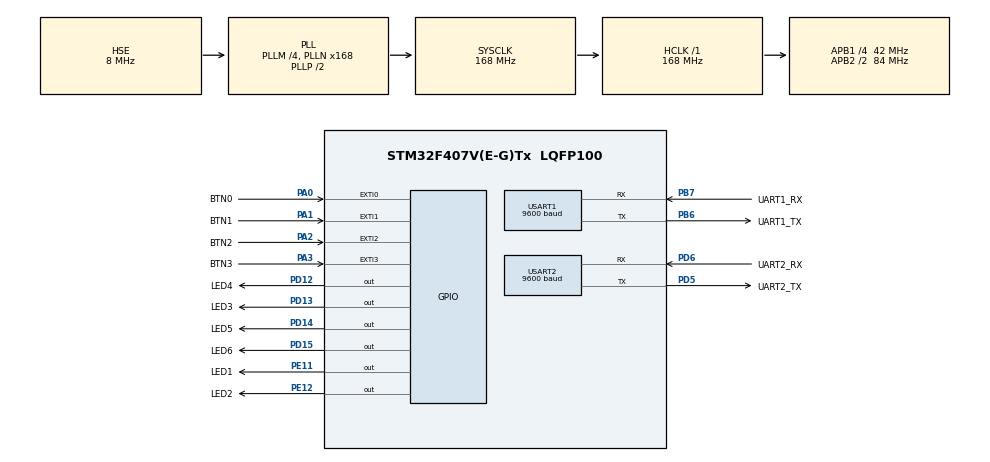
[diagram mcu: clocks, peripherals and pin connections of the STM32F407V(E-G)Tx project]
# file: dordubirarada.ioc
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Mcu.Family=STM32F4
Mcu.Name=STM32F407V(E-G)Tx
Mcu.Package=LQFP100
NVIC.EXTI0_IRQn=true\:0\:5\:false\:false\:true
NVIC.EXTI1_IRQn=true\:0\:5\:false\:false\:true
NVIC.EXTI2_IRQn=true\:0\:5\:false\:false\:true
NVIC.EXTI3_IRQn=true\:0\:5\:false\:false\:true
NVIC.PriorityGroup=NVIC_PRIORITYGROUP_0
NVIC.TIM6_DAC_IRQn=true\:0\:1\:false\:false\:true
NVIC.USART1_IRQn=true\:0\:3\:false\:false\:true
NVIC.USART2_IRQn=true\:0\:3\:false\:false\:true
PA0-WKUP.GPIO_Label=BTN0
PA0-WKUP.GPIO_ModeDefaultEXTI=GPIO_MODE_IT_FALLING
PA0-WKUP.GPIO_PuPd=GPIO_PULLDOWN
PA0-WKUP.Signal=GPXTI0
PA1.GPIO_Label=BTN1
PA1.GPIO_ModeDefaultEXTI=GPIO_MODE_IT_FALLING
PA1.GPIO_PuPd=GPIO_PULLDOWN
PA1.Signal=GPXTI1
PA13.Mode=Trace_Asynchronous_SW
PA13.Signal=SYS_JTMS-SWDIO
PA14.Mode=Trace_Asynchronous_SW
PA14.Signal=SYS_JTCK-SWCLK
PA2.GPIO_Label=BTN2
PA2.GPIO_ModeDefaultEXTI=GPIO_MODE_IT_FALLING
PA2.GPIO_PuPd=GPIO_PULLDOWN
PA2.Signal=GPXTI2
PA3.GPIO_Label=BTN3
PA3.GPIO_ModeDefaultEXTI=GPIO_MODE_IT_FALLING
PA3.GPIO_PuPd=GPIO_PULLDOWN
PA3.Signal=GPXTI3
PB3.Mode=Trace_Asynchronous_SW
PB3.Signal=SYS_JTDO-SWO
PB6.GPIO_Label=UART1_TX
PB6.Mode=Asynchronous
PB6.Signal=USART1_TX
PB7.GPIO_Label=UART1_RX
PB7.Mode=Asynchronous
PB7.Signal=USART1_RX
PD12.GPIO_Label=LED4
PD12.GPIO_ModeDefaultOutputPP=GPIO_MODE_OUTPUT_PP
PD12.GPIO_PuPd=GPIO_PULLDOWN
PD12.GPIO_Speed=GPIO_SPEED_FREQ_VERY_HIGH
PD12.PinState=GPIO_PIN_RESET
PD12.Signal=GPIO_Output
PD13.GPIO_Label=LED3
PD13.GPIO_ModeDefaultOutputPP=GPIO_MODE_OUTPUT_PP
PD13.GPIO_PuPd=GPIO_PULLDOWN
PD13.GPIO_Speed=GPIO_SPEED_FREQ_VERY_HIGH
PD13.PinState=GPIO_PIN_RESET
PD13.Signal=GPIO_Output
PD14.GPIO_Label=LED5
PD14.GPIO_ModeDefaultOutputPP=GPIO_MODE_OUTPUT_PP
PD14.GPIO_PuPd=GPIO_PULLDOWN
PD14.GPIO_Speed=GPIO_SPEED_FREQ_VERY_HIGH
PD14.PinState=GPIO_PIN_RESET
PD14.Signal=GPIO_Output
PD15.GPIO_Label=LED6
PD15.GPIO_ModeDefaultOutputPP=GPIO_MODE_OUTPUT_PP
PD15.GPIO_PuPd=GPIO_PULLDOWN
PD15.GPIO_Speed=GPIO_SPEED_FREQ_VERY_HIGH
PD15.PinState=GPIO_PIN_RESET
PD15.Signal=GPIO_Output
PD5.GPIO_Label=UART2_TX
PD5.Mode=Asynchronous
PD5.Signal=USART2_TX
PD6.GPIO_Label=UART2_RX
PD6.Mode=Asynchronous
PD6.Signal=USART2_RX
PE11.GPIO_Label=LED1
PE11.GPIO_ModeDefaultOutputPP=GPIO_MODE_OUTPUT_PP
PE11.GPIO_PuPd=GPIO_PULLDOWN
PE11.GPIO_Speed=GPIO_SPEED_FREQ_VERY_HIGH
PE11.PinState=GPIO_PIN_RESET
PE11.Signal=GPIO_Output
PE12.GPIO_Label=LED2
PE12.GPIO_ModeDefaultOutputPP=GPIO_MODE_OUTPUT_PP
PE12.GPIO_PuPd=GPIO_PULLDOWN
PE12.GPIO_Speed=GPIO_SPEED_FREQ_VERY_HIGH
PE12.PinState=GPIO_PIN_RESET
PE12.Signal=GPIO_Output
PH0-OSC_IN.Mode=HSE-External-Oscillator
PH0-OSC_IN.Signal=RCC_OSC_IN
PH1-OSC_OUT.Mode=HSE-External-Oscillator
PH1-OSC_OUT.Signal=RCC_OSC_OUT
ProjectManager.HeapSize=0x1000
ProjectManager.StackSize=0x1000
ProjectManager.TargetToolchain=MDK-ARM V5
RCC.48MHZClocksFreq_Value=48000000
RCC.AHBFreq_Value=168000000
RCC.APB1CLKDivider=RCC_HCLK_DIV4
RCC.APB1Freq_Value=42000000
RCC.APB1TimFreq_Value=84000000
RCC.APB2CLKDivider=RCC_HCLK_DIV2
RCC.APB2Freq_Value=84000000
RCC.APB2TimFreq_Value=168000000
RCC.CortexFreq_Value=168000000
RCC.HCLKFreq_Value=168000000
RCC.HSE_VALUE=8000000
RCC.HSI_VALUE=16000000
RCC.LSE_VALUE=32768
RCC.PLLM=4
RCC.PLLN=168
RCC.PLLQ=7
RCC.PLLSourceVirtual=RCC_PLLSOURCE_HSE
RCC.SYSCLKFreq_VALUE=168000000
RCC.SYSCLKSource=RCC_SYSCLKSOURCE_PLLCLK
RCC.VCOOutputFreq_Value=336000000
TIM6.Period=9999
TIM6.Prescaler=8399
USART1.BaudRate=9600
USART2.BaudRate=9600
VP_TIM6_VS_ClockSourceINT.Mode=Enable_Timer
board=STM32F4DISCOVERY

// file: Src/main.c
/**
  ******************************************************************************
  * File Name          : main.c
  * Description        : Main program body
  ******************************************************************************
  *
  * COPYRIGHT(c) 2016 STMicroelectronics
  *
  * Redistribution and use in source and binary forms, with or without modification,
  * are permitted provided that the following conditions are met:
  *   1. Redistributions of source code must retain the above copyright notice,
  *      this list of conditions and the following disclaimer.
  *   2. Redistributions in binary form must reproduce the above copyright notice,
  *      this list of conditions and the following disclaimer in the documentation
  *      and/or other materials provided with the distribution.
  *   3. Neither the name of STMicroelectronics nor the names of its contributors
  *      may be used to endorse or promote products derived from this software
  *      without specific prior written permission.
  *
  * THIS SOFTWARE IS PROVIDED BY THE COPYRIGHT HOLDERS AND CONTRIBUTORS "AS IS"
  * AND ANY EXPRESS OR IMPLIED WARRANTIES, INCLUDING, BUT NOT LIMITED TO, THE
  * IMPLIED WARRANTIES OF MERCHANTABILITY AND FITNESS FOR A PARTICULAR PURPOSE ARE
  * DISCLAIMED. IN NO EVENT SHALL THE COPYRIGHT HOLDER OR CONTRIBUTORS BE LIABLE
  * FOR ANY DIRECT, INDIRECT, INCIDENTAL, SPECIAL, EXEMPLARY, OR CONSEQUENTIAL
  * DAMAGES (INCLUDING, BUT NOT LIMITED TO, PROCUREMENT OF SUBSTITUTE GOODS OR
  * SERVICES; LOSS OF USE, DATA, OR PROFITS; OR BUSINESS INTERRUPTION) HOWEVER
  * CAUSED AND ON ANY THEORY OF LIABILITY, WHETHER IN CONTRACT, STRICT LIABILITY,
  * OR TORT (INCLUDING NEGLIGENCE OR OTHERWISE) ARISING IN ANY WAY OUT OF THE USE
  * OF THIS SOFTWARE, EVEN IF ADVISED OF THE POSSIBILITY OF SUCH DAMAGE.
  *
  ******************************************************************************
  */
#include "stm32f4xx_hal.h"
#include "tim.h"
#include "usart.h"
#include "gpio.h"

/* USER CODE BEGIN Includes */

#include "furkan.h"

/* USER CODE END Includes */

/* USER CODE BEGIN PV */
/* Private variables ---------------------------------------------------------*/

/* USER CODE END PV */

void SystemClock_Config(void);
void Error_Handler(void);

/* USER CODE BEGIN PFP */
/* Private function prototypes -----------------------------------------------*/

/* USER CODE END PFP */

int main(void)
{

  /* MCU Configuration----------------------------------------------------------*/

  /* Reset of all peripherals, Initializes the Flash interface and the Systick. */
  HAL_Init();

  /* Configure the system clock */
  SystemClock_Config();

  /* Initialize all configured peripherals */
  MX_GPIO_Init();
  MX_TIM6_Init();
  MX_USART1_UART_Init();
  MX_USART2_UART_Init();

  /* USER CODE BEGIN 2 */
FRK_Init();
  /* USER CODE END 2 */

  /* Infinite loop */
  while (1)
  {

  /* USER CODE BEGIN 3 */
   HAL_GPIO_TogglePin(GPIOD,GPIO_PIN_12);
   HAL_Delay(40);
	 HAL_GPIO_TogglePin(GPIOD,GPIO_PIN_13);
   HAL_Delay(40);
	 HAL_GPIO_TogglePin(GPIOD,GPIO_PIN_14);
   HAL_Delay(40);
   HAL_GPIO_TogglePin(GPIOD,GPIO_PIN_15);
   HAL_Delay(40);
  }
  /* USER CODE END 3 */

}

/** System Clock Configuration
*/
void SystemClock_Config(void)
{

  RCC_OscInitTypeDef RCC_OscInitStruct;
  RCC_ClkInitTypeDef RCC_ClkInitStruct;

  __HAL_RCC_PWR_CLK_ENABLE();

  __HAL_PWR_VOLTAGESCALING_CONFIG(PWR_REGULATOR_VOLTAGE_SCALE1);

  RCC_OscInitStruct.OscillatorType = RCC_OSCILLATORTYPE_HSE;
  RCC_OscInitStruct.HSEState = RCC_HSE_ON;
  RCC_OscInitStruct.PLL.PLLState = RCC_PLL_ON;
  RCC_OscInitStruct.PLL.PLLSource = RCC_PLLSOURCE_HSE;
  RCC_OscInitStruct.PLL.PLLM = 4;
  RCC_OscInitStruct.PLL.PLLN = 168;
  RCC_OscInitStruct.PLL.PLLP = RCC_PLLP_DIV2;
  RCC_OscInitStruct.PLL.PLLQ = 7;
  if (HAL_RCC_OscConfig(&RCC_OscInitStruct) != HAL_OK)
  {
    Error_Handler();
  }

  RCC_ClkInitStruct.ClockType = RCC_CLOCKTYPE_HCLK|RCC_CLOCKTYPE_SYSCLK
                              |RCC_CLOCKTYPE_PCLK1|RCC_CLOCKTYPE_PCLK2;
  RCC_ClkInitStruct.SYSCLKSource = RCC_SYSCLKSOURCE_PLLCLK;
  RCC_ClkInitStruct.AHBCLKDivider = RCC_SYSCLK_DIV1;
  RCC_ClkInitStruct.APB1CLKDivider = RCC_HCLK_DIV4;
  RCC_ClkInitStruct.APB2CLKDivider = RCC_HCLK_DIV2;
  if (HAL_RCC_ClockConfig(&RCC_ClkInitStruct, FLASH_LATENCY_5) != HAL_OK)
  {
    Error_Handler();
  }

  HAL_SYSTICK_Config(HAL_RCC_GetHCLKFreq()/1000);

  HAL_SYSTICK_CLKSourceConfig(SYSTICK_CLKSOURCE_HCLK);

  /* SysTick_IRQn interrupt configuration */
  HAL_NVIC_SetPriority(SysTick_IRQn, 0, 0);
}

/* USER CODE BEGIN 4 */
static uint16_t Buffercmp(uint8_t* pBuffer1, uint8_t* pBuffer2, uint16_t BufferLength)
{
  while (BufferLength--)
  {
    if ((*pBuffer1) != *pBuffer2)
    {
      return BufferLength;
    }
    pBuffer1++;
    pBuffer2++;
  }

  return 0;
}

/* USER CODE END 4 */

void Error_Handler(void)
{
  while(1)
  {
  }
}

/************************ (C) COPYRIGHT STMicroelectronics *****END OF FILE****/
